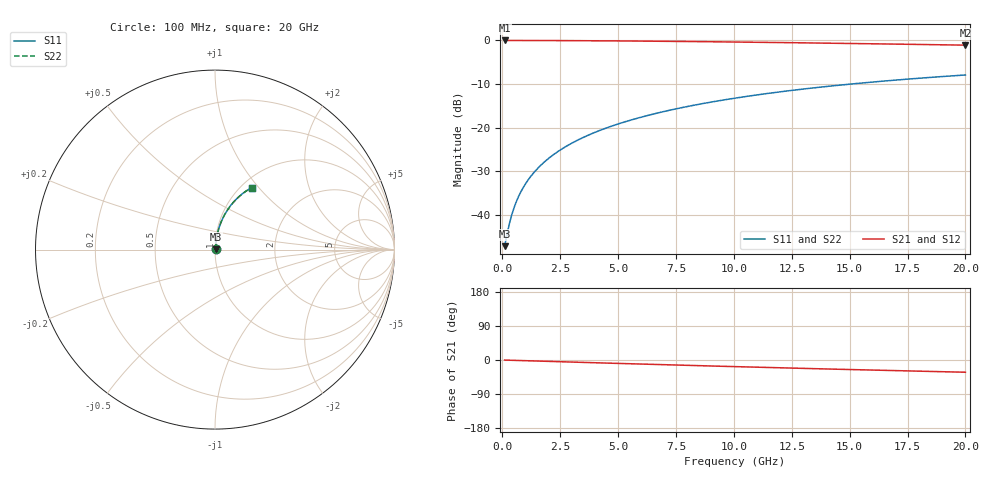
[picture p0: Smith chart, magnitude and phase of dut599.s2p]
! Touchstone file exported from HFSS 2024.1.0
!  File:  C:/UserFiles/LocalFiles/RDL_TSV_Batchsim/temp_RDL_bottom_599_1779691461.aedt
!  Generated:  02:46:44 PM May 25, 2026
!  Design:  RDL_bottom
!  Project:  temp_RDL_bottom_599_1779691461
!  Setup:  Setup1
!  Solution:  Sweep
! Variables:
!  dtsv = 10.80580581um
!  hbump = 3um
!  htsv = 62.1um
!  ldown = 379.27um
!  lrdl = 100um
!  p = 40
!  p1 = 48.23um
!  rhole = 1um
!  t = 450um
!  tdown = 3.37um
!  trdl = 3.915915916um
!  wdown = 10.81um
!  wrdl = 20um
# GHz S MA R 50.000000
! Terminal data exported
! Port[1] = RDL1_T1
! Port[2] = RDL1_T2
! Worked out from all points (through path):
!   200 points, 100 MHz to 20 GHz, reference 50 ohm
!   highest |S21| = -0.03 dB at 100 MHz (marker M1); lowest = -1.1 dB at 20 GHz (marker M2)
!   group delay of S21, straight-line fit = 4.48 ps
!   lowest |S11| = -47.1 dB at 100 MHz (marker M3), VSWR 1.01, Z = 50.4 + j0.23 ohm
!   |S11| at or under -10 dB: start of sweep to 15.07 GHz
!   |S22| runs from -47.1 to -7.9 dB; largest |S21 - S12| = 3.1e-15
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0.1  0.004412 31.1  0.9962 -0.2  0.9962 -0.2  0.004412 31.1
! Gamma 0 0 0 0
! Port Impedance 50 0 50 0
0.3  0.00784 60.2  0.9961 -0.6  0.9961 -0.6  0.00784 60.2
0.4  0.009881 66.2  0.996 -0.7  0.996 -0.7  0.009881 66.2
0.5  0.01198 70.0  0.9959 -0.9  0.9959 -0.9  0.01198 70.0
0.6  0.01411 72.7  0.9958 -1.1  0.9958 -1.1  0.01411 72.7
0.8  0.01842 76.0  0.9956 -1.5  0.9956 -1.5  0.01842 76.0
1.1  0.02491 78.8  0.9953 -2.0  0.9953 -2.0  0.02491 78.8
1.3  0.02927 79.8  0.995 -2.4  0.995 -2.4  0.02927 79.8
1.5  0.03363 80.5  0.9947 -2.7  0.9947 -2.7  0.03363 80.5
1.8  0.04019 81.2  0.9942 -3.3  0.9942 -3.3  0.04019 81.2
2.1  0.04676 81.6  0.9936 -3.8  0.9936 -3.8  0.04676 81.6
2.7  0.05992 81.8  0.9923 -4.9  0.9923 -4.9  0.05992 81.8
3.5  0.07748 81.6  0.99 -6.4  0.99 -6.4  0.07748 81.6
4.2  0.09283 81.0  0.9876 -7.6  0.9876 -7.6  0.09282 81.0
5  0.1103 80.2  0.9844 -9.0  0.9844 -9.0  0.1103 80.2
5.9  0.1299 79.1  0.9803 -10.6  0.9803 -10.6  0.1299 79.1
6.8  0.1493 78.0  0.9758 -12.1  0.9758 -12.1  0.1493 78.0
8.3  0.1814 76.0  0.9674 -14.6  0.9674 -14.6  0.1814 76.0
10.1  0.219 73.4  0.956 -17.6  0.956 -17.6  0.219 73.4
13.4  0.2848 68.6  0.9327 -22.8  0.9327 -22.8  0.2848 68.6
16.7  0.3457 63.9  0.9072 -27.7  0.9072 -27.7  0.3457 63.9
20  0.4013 59.4  0.8803 -32.3  0.8803 -32.3  0.4013 59.4
